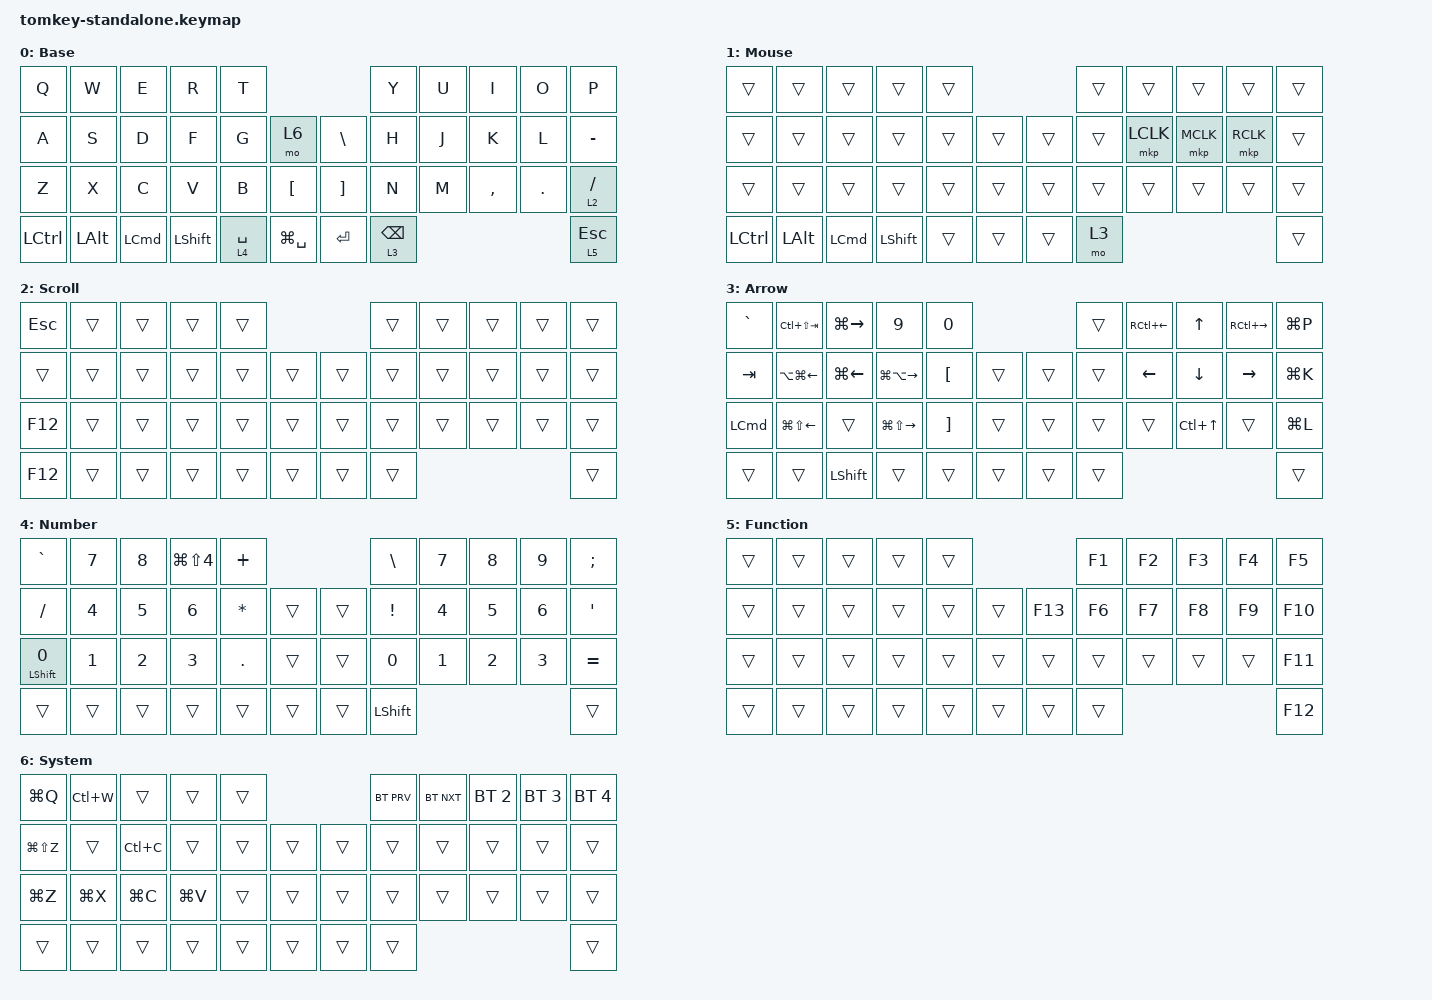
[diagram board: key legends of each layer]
/*
 * Copyright (c) 2020 The ZMK Contributors
 *
 * SPDX-License-Identifier: MIT
 */

#include <behaviors.dtsi>
#include <dt-bindings/zmk/bt.h>
#include <dt-bindings/zmk/keys.h>
#include <dt-bindings/zmk/mouse.h>

/ {
    keymap {
        compatible = "zmk,keymap";

        default_layer {
            display-name = "Base";
            bindings = <
                &kp Q      &kp W         &kp E             &kp R           &kp T                                                 &kp Y            &kp U     &kp I         &kp O    &kp P
                &kp A      &kp S         &kp D             &kp F           &kp G        &mo 6                 &kp BACKSLASH      &kp H            &kp J     &kp K         &kp L    &kp MINUS
                &kp Z      &kp X         &kp C             &kp V           &kp B        &kp LEFT_BRACKET      &kp RIGHT_BRACKET  &kp N            &kp M     &kp COMMA     &kp DOT  &lt 2 SLASH
                &kp LCTRL  &kp LEFT_ALT  &kp LEFT_COMMAND  &kp LEFT_SHIFT  &lt 4 SPACE  &kp LG(SPACE)         &kp ENTER          &lt 3 BACKSPACE                                   &lt 5 ESCAPE
            >;
        };

        MOUSE {
            display-name = "Mouse";
            bindings = <
                &trans         &trans         &trans            &trans          &trans                                           &trans           &trans    &trans        &trans      &trans
                &trans         &trans         &trans            &trans          &trans       &trans           &trans             &trans           &mkp LCLK &mkp MCLK     &mkp RCLK   &trans
                &trans         &trans         &trans            &trans          &trans       &trans           &trans             &trans           &trans    &trans        &trans      &trans
                &kp LCTRL      &kp LEFT_ALT   &kp LEFT_COMMAND  &kp LEFT_SHIFT  &trans       &trans           &trans             &mo 3                                                &trans
            >;
        };

        SCROLL {
            display-name = "Scroll";
            bindings = <
                &kp ESCAPE  &trans  &trans  &trans  &trans                      &trans  &trans  &trans  &trans  &trans
                &trans      &trans  &trans  &trans  &trans  &trans      &trans  &trans  &trans  &trans  &trans  &trans
                &kp F12     &trans  &trans  &trans  &trans  &trans      &trans  &trans  &trans  &trans  &trans  &trans
                &kp F12     &trans  &trans  &trans  &trans  &trans      &trans  &trans                          &trans
            >;
        };

        ARROW {
            display-name = "Arrow";
            bindings = <
                &kp GRAVE  &kp LC(LS(TAB))         &kp LG(RIGHT)   &kp NUMBER_9            &kp NUMBER_0                                   &trans  &kp RC(LEFT_ARROW)  &kp UP_ARROW      &kp RC(RIGHT_ARROW)  &kp LG(P)
                &kp TAB    &kp LA(LG(LEFT_ARROW))  &kp LG(LEFT)    &kp LG(LA(RIGHT_ARROW)) &kp LEFT_BRACKET   &trans      &trans  &trans  &kp LEFT_ARROW      &kp DOWN_ARROW    &kp RIGHT_ARROW      &kp LG(K)
                &kp LCMD   &kp LG(LS(LEFT_ARROW))  &trans          &kp LG(LS(RIGHT_ARROW)) &kp RIGHT_BRACKET  &trans      &trans  &trans  &trans              &kp LC(UP_ARROW)  &trans               &kp LG(L)
                &trans     &trans                  &kp LEFT_SHIFT  &trans                  &trans             &trans      &trans  &trans                                                              &trans
            >;
        };

        NUM {
            display-name = "Number";
            bindings = <
                &kp GRAVE                &kp NUMBER_7  &kp NUMBER_8  &kp LG(LS(NUMBER_4))  &kp PLUS                          &kp BACKSLASH    &kp NUMBER_7  &kp NUMBER_8  &kp NUMBER_9  &kp SEMICOLON
                &kp SLASH                &kp NUMBER_4  &kp NUMBER_5  &kp NUMBER_6          &kp ASTERISK  &trans      &trans  &kp EXCLAMATION  &kp NUMBER_4  &kp NUMBER_5  &kp NUMBER_6  &kp SQT
                &mt LEFT_SHIFT NUMBER_0  &kp NUMBER_1  &kp NUMBER_2  &kp NUMBER_3          &kp PERIOD    &trans      &trans  &kp NUMBER_0     &kp NUMBER_1  &kp NUMBER_2  &kp NUMBER_3  &kp EQUAL
                &trans                   &trans        &trans        &trans                &trans        &trans      &trans  &kp LEFT_SHIFT                                             &trans
            >;
        };

        FUNCTION {
            display-name = "Function";
            bindings = <
                &trans  &trans  &trans  &trans  &trans                       &kp F1  &kp F2  &kp F3  &kp F4  &kp F5
                &trans  &trans  &trans  &trans  &trans  &trans      &kp F13  &kp F6  &kp F7  &kp F8  &kp F9  &kp F10
                &trans  &trans  &trans  &trans  &trans  &trans      &trans   &trans  &trans  &trans  &trans  &kp F11
                &trans  &trans  &trans  &trans  &trans  &trans      &trans   &trans                          &kp F12
            >;
        };

        SYSTEM {
            display-name = "System";
            bindings = <
                &kp LG(Q)      &kp LC(W)  &trans     &trans     &trans                      &bt BT_PRV     &bt BT_NXT       &bt BT_SEL 2  &bt BT_SEL 3  &bt BT_SEL 4
                &kp LG(LS(Z))  &trans     &kp LC(C)  &trans     &trans  &trans      &trans  &trans         &trans           &trans        &trans        &trans
                &kp LG(Z)      &kp LG(X)  &kp LG(C)  &kp LG(V)  &trans  &trans      &trans  &trans         &trans           &trans        &trans        &trans
                &trans         &trans     &trans     &trans     &trans  &trans      &trans  &trans                                                      &trans
            >;
        };
    };
};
